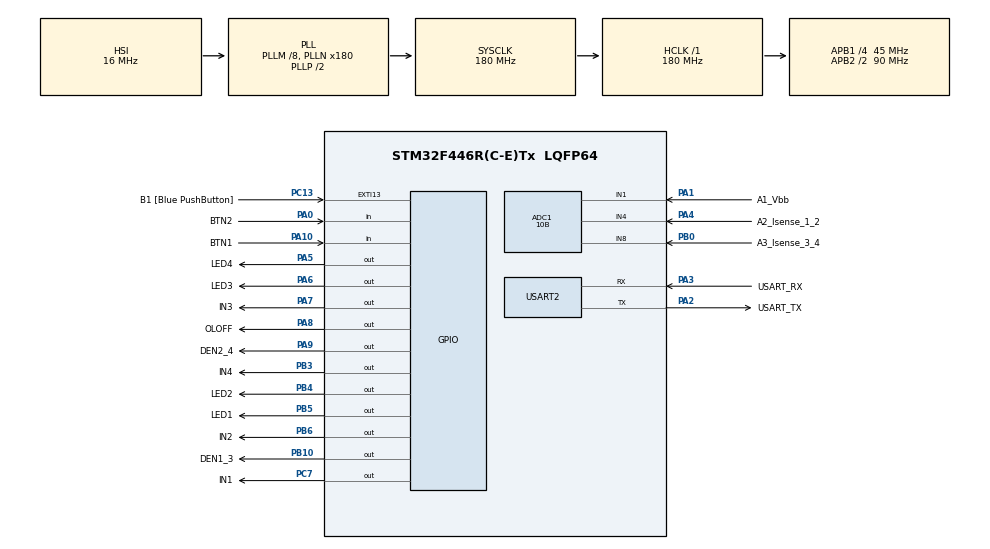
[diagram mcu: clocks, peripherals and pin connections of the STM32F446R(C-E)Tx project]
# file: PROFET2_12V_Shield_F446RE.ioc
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Mcu.Family=STM32F4
PH0-OSC_IN.Signal=RCC_OSC_IN
RCC.CortexFreq_Value=180000000
ADC1.ContinuousConvMode=DISABLE
NVIC.TIM6_DAC_IRQn=true\:0\:0\:false\:false\:true\:true\:true
PA14.GPIO_Label=TCK
PA6.GPIO_Label=LED3
PB0.GPIO_Label=A3_Isense_3_4
PB6.GPIO_Label=IN2
PC13.GPIO_Label=B1 [Blue PushButton]
RCC.SYSCLKSource=RCC_SYSCLKSOURCE_PLLCLK
ProjectManager.StackSize=0x400
NVIC.ADC_IRQn=true\:0\:0\:false\:false\:true\:true\:true
RCC.HCLKFreq_Value=180000000
ADC1.Resolution=ADC_RESOLUTION_10B
RCC.APB2TimFreq_Value=180000000
PB6.Signal=GPIO_Output
ADC1.Channel-2\#ChannelRegularConversion=ADC_CHANNEL_8
PC7.Signal=GPIO_Output
RCC.AHBFreq_Value=180000000
PH0-OSC_IN.Mode=HSE-External-Oscillator
ADC1.Channel-0\#ChannelRegularConversion=ADC_CHANNEL_1
RCC.HSE_VALUE=8000000
ADC1.Rank-2\#ChannelRegularConversion=3
PC14-OSC32_IN.Mode=LSE-External-Oscillator
PA14.Mode=Serial_Wire
PA10.GPIO_Label=BTN1
SH.ADCx_IN8.0=ADC1_IN8,IN8
PA8.Signal=GPIO_Output
TIM6.Period=9999
ADC1.SamplingTime-0\#ChannelRegularConversion=ADC_SAMPLETIME_3CYCLES
RCC.FLatency-AdvancedSettings=FLASH_LATENCY_5
PH1-OSC_OUT.Mode=HSE-External-Oscillator
Mcu.Package=LQFP64
PA6.Signal=GPIO_Output
USART2.VirtualMode=VM_ASYNC
PA2.GPIO_Label=USART_TX
PA10.Signal=GPIO_Input
RCC.APB2CLKDivider=RCC_HCLK_DIV2
SH.ADCx_IN1.0=ADC1_IN1,IN1
PB5.GPIO_Label=LED1
RCC.APB1TimFreq_Value=90000000
PA4.GPIO_Label=A2_Isense_1_2
PB4.Signal=GPIO_Output
PA3.Signal=USART2_RX
PB3.GPIO_Label=IN4
PC15-OSC32_OUT.Mode=LSE-External-Oscillator
ADC1.Rank-0\#ChannelRegularConversion=1
PC13.Signal=GPXTI13
PA9.GPIO_Label=DEN2_4
TIM6.Prescaler=449
VP_TIM6_VS_ClockSourceINT.Mode=Enable_Timer
ADC1.DiscontinuousConvMode=ENABLE
RCC.APB1CLKDivider=RCC_HCLK_DIV4
PC14-OSC32_IN.Signal=RCC_OSC32_IN
NVIC.USART2_IRQn=true\:0\:0\:false\:false\:true\:true\:true
ADC1.SamplingTime-2\#ChannelRegularConversion=ADC_SAMPLETIME_3CYCLES
PA0-WKUP.GPIO_Label=BTN2
PA0-WKUP.Signal=GPIO_Input
PA3.Mode=Asynchronous
PA13.Signal=SYS_JTMS-SWDIO
TIM6.AutoReloadPreload=TIM_AUTORELOAD_PRELOAD_ENABLE
PA8.GPIO_Label=OLOFF
ProjectManager.TargetToolchain=STM32CubeIDE
PB10.GPIO_Label=DEN1_3
PA9.Signal=GPIO_Output
ADC1.Channel-1\#ChannelRegularConversion=ADC_CHANNEL_4
RCC.USBFreq_Value=180000000
PC15-OSC32_OUT.Signal=RCC_OSC32_OUT
PA1.Signal=ADCx_IN1
PB10.Signal=GPIO_Output
PA5.Signal=GPIO_Output
board=NUCLEO-F446RE
RCC.VCOOutputFreq_Value=360000000
RCC.APB2Freq_Value=90000000
PB4.GPIO_Label=LED2
PA1.GPIO_Label=A1_Vbb
PH1-OSC_OUT.Signal=RCC_OSC_OUT
SH.ADCx_IN4.0=ADC1_IN4,IN4
ADC1.NbrOfConversion=3
PA13.Mode=Serial_Wire
Mcu.Name=STM32F446R(C-E)Tx
PA2.Signal=USART2_TX
PA13.GPIO_Label=TMS
PC7.GPIO_Label=IN1
RCC.48MHZClocksFreq_Value=84000000
PB3.Signal=GPIO_Output
PA4.Signal=ADCx_IN4
ADC1.SamplingTime-1\#ChannelRegularConversion=ADC_SAMPLETIME_3CYCLES
RCC.SYSCLKFreq_VALUE=180000000
PB5.Signal=GPIO_Output
PA7.GPIO_Label=IN3
ADC1.master=1
PA5.GPIO_Label=LED4
PC13.GPIO_ModeDefaultEXTI=GPIO_MODE_IT_FALLING
ADC1.Rank-1\#ChannelRegularConversion=2
PA14.Signal=SYS_JTCK-SWCLK
ProjectManager.HeapSize=0x200
RCC.HSI_VALUE=16000000
NVIC.PriorityGroup=NVIC_PRIORITYGROUP_0
ADC1.NbrOfConversionFlag=1
RCC.PLLM=8
RCC.PLLN=180
PA2.Mode=Asynchronous
RCC.APB1Freq_Value=45000000
PB0.Signal=ADCx_IN8
PA3.GPIO_Label=USART_RX
PA7.Signal=GPIO_Output

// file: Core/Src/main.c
/* USER CODE BEGIN Header */
/**
 ******************************************************************************
 * @file           : main.c
 * @brief          : Main program body
 ******************************************************************************
 * @attention
 *
 * <h2><center>&copy; Copyright (c) 2021 STMicroelectronics.
 * All rights reserved.</center></h2>
 *
 * This software component is licensed by ST under BSD 3-Clause license,
 * the "License"; You may not use this file except in compliance with the
 * License. You may obtain a copy of the License at:
 *                        opensource.org/licenses/BSD-3-Clause
 *
 ******************************************************************************
 */
/* USER CODE END Header */
#include "main.h"

/* USER CODE BEGIN Includes */

#include "string.h"
/* USER CODE END Includes */

/* USER CODE BEGIN PTD */
typedef struct
{
	uint16_t kilis; /**< Current sense ratio */
	float ampsGain; /**< Gain factor for the current, may has to be adjusted */
	float ampsOffset; /**< Current offset, can be used to correct the measured current */
	float vBatGain; /**< Gain factor for the battery voltage, may has to be adjusted */
	float vBatOffset; /**< Battery voltage offset, can be used to correct the measured battery voltage */
} BtsVariants_t;
typedef struct
{
	uint16_t tau;

	float y;
	float y_last;
	float x;
} ExpFilterBase_t;
/* USER CODE END PTD */

/* USER CODE BEGIN PD */
#define MAX_ADC_VAL (3.3)
/* USER CODE END PD */

ADC_HandleTypeDef hadc1;

TIM_HandleTypeDef htim6;

UART_HandleTypeDef huart2;

/* USER CODE BEGIN PV */
BtsVariants_t BTS7002 =
{ .kilis = 22700, .ampsGain = 1.08, .ampsOffset = 0.0, .vBatGain = 1.045,
		.vBatOffset = 0.0 };
uint16_t data[4];
float data_res[4];
char buf[100];
ExpFilterBase_t filterBase[4];
/* USER CODE END PV */

void SystemClock_Config(void);
static void MX_GPIO_Init(void);
static void MX_USART2_UART_Init(void);
static void MX_ADC1_Init(void);
static void MX_TIM6_Init(void);
/* USER CODE BEGIN PFP */
uint16_t pow2(uint16_t p)
{
	return 1 << p;
}

void ExponentialFilter_Init(ExpFilterBase_t *_target)
{
	_target->y = 0.0;
	_target->y_last = 0.0;
	_target->x = 0.0;
	_target->tau = 1;
}

void ExponentialFilter_Init_Y(ExpFilterBase_t *_target, float y)
{
	_target->y = y;
	_target->y_last = y;
	_target->x = y;
}

void ExponentialFilter_Init_Y_T(ExpFilterBase_t *_target, float y, uint16_t t)
{
	_target->y = y;
	_target->y_last = y;
	_target->x = y;
	_target->tau = pow2(t);
}

void ExponentialFilter_setFilter(ExpFilterBase_t *_target, float y, uint16_t t)
{
	_target->y = y;
	_target->y_last = y;
	_target->x = y;
	_target->tau = pow2(t);
}

void ExponentialFilter_setTau(ExpFilterBase_t *_target, uint16_t t)
{
	_target->tau = pow2(t);
}

void ExponentialFilter_setToNewValue(ExpFilterBase_t *_target, float y)
{
	_target->y = _target->y_last = _target->x = _target->y;
}

float ExponentialFilter_input(ExpFilterBase_t *_target, float x)
{
	_target->y_last = _target->y;
	_target->x = x;

	_target->y = _target->y_last
			+ ((x - _target->y_last) / (float) _target->tau);
}

float ExponentialFilter_output(ExpFilterBase_t *_target)
{
	return _target->y;
}

void ADC_Port1_3()
{

}
void ADC_Port2_4()
{

}
/* USER CODE END PFP */

/* USER CODE BEGIN 0 */
float changeRawToCurrent(uint16_t rawval)
{
	float amps;
	amps = ((float) rawval / (float) 1024) * (float) MAX_ADC_VAL;
	amps = (amps * BTS7002.kilis) / 1000.0;
	amps = (amps - BTS7002.ampsOffset) * BTS7002.ampsGain;
	return amps;
	//ExponentialFilter_input(&filterBase[3], amps);

	//return ExponentialFilter_output(&filterBase[3]);
}
/* USER CODE END 0 */

int main(void)
{

	/* MCU Configuration--------------------------------------------------------*/

	/* Reset of all peripherals, Initializes the Flash interface and the Systick. */
	HAL_Init();

	/* Configure the system clock */
	SystemClock_Config();

	/* Initialize all configured peripherals */
	MX_GPIO_Init();
	MX_USART2_UART_Init();
	MX_ADC1_Init();
	MX_TIM6_Init();
	/* USER CODE BEGIN 2 */
	HAL_GPIO_WritePin(IN2_GPIO_Port, IN2_Pin, GPIO_PIN_RESET);
	HAL_GPIO_WritePin(IN4_GPIO_Port, IN4_Pin, GPIO_PIN_SET);

	HAL_GPIO_WritePin(IN1_GPIO_Port, IN1_Pin, GPIO_PIN_RESET);
	HAL_GPIO_WritePin(IN3_GPIO_Port, IN3_Pin, GPIO_PIN_RESET);
	/* USER CODE END 2 */

	/* Infinite loop */
	/* USER CODE BEGIN WHILE */
	while (1)
	{
		HAL_GPIO_WritePin(OLOFF_GPIO_Port, OLOFF_Pin, GPIO_PIN_RESET);
		HAL_Delay(1);
		HAL_GPIO_WritePin(DEN2_4_GPIO_Port, DEN2_4_Pin, GPIO_PIN_SET);
		HAL_Delay(1);
		for (volatile int i = 0; i < 3; i++)
		{
			HAL_ADC_Start(&hadc1);
			HAL_ADC_PollForConversion(&hadc1, 100);
			data[i] = HAL_ADC_GetValue(&hadc1);
		}
		HAL_ADC_Stop(&hadc1);

		HAL_GPIO_WritePin(DEN2_4_GPIO_Port, DEN2_4_Pin, GPIO_PIN_RESET);

		sprintf(buf, "\t\t\tIN2\t\tIN4\r\n"
				"----------------------------------------------\r\n"
				"OLOFF: %d\t||\t%d\t||\t%f\r\n", data[0], data[1], changeRawToCurrent(data[2]));
		HAL_UART_Transmit(&huart2, buf, strlen(buf), 1000);

		HAL_Delay(10);
		/* USER CODE END WHILE */

		/* USER CODE BEGIN 3 */

		HAL_GPIO_WritePin(OLOFF_GPIO_Port, OLOFF_Pin, GPIO_PIN_SET);
		HAL_Delay(1);
		HAL_GPIO_WritePin(DEN2_4_GPIO_Port, DEN2_4_Pin, GPIO_PIN_SET);
		HAL_Delay(1);

		for (volatile int i = 0; i < 3; i++)
		{
			HAL_ADC_Start(&hadc1);
			HAL_ADC_PollForConversion(&hadc1, 100);
			data[i] = HAL_ADC_GetValue(&hadc1);
		}
		HAL_ADC_Stop(&hadc1);

		HAL_GPIO_WritePin(DEN2_4_GPIO_Port, DEN2_4_Pin, GPIO_PIN_RESET);

		sprintf(buf, "OLON: %d\t||\t%d\t||\t%f\r\n\r\n", data[0], data[1],
				changeRawToCurrent(data[2]));
		HAL_UART_Transmit(&huart2, (uint8_t*) buf, strlen(buf), 1000);

		HAL_Delay(1000);
	}
	/* USER CODE END 3 */
}

void SystemClock_Config(void)
{
	RCC_OscInitTypeDef RCC_OscInitStruct =
	{ 0 };
	RCC_ClkInitTypeDef RCC_ClkInitStruct =
	{ 0 };

	/** Configure the main internal regulator output voltage
	 */
	__HAL_RCC_PWR_CLK_ENABLE();
	__HAL_PWR_VOLTAGESCALING_CONFIG(PWR_REGULATOR_VOLTAGE_SCALE1);
	/** Initializes the RCC Oscillators according to the specified parameters
	 * in the RCC_OscInitTypeDef structure.
	 */
	RCC_OscInitStruct.OscillatorType = RCC_OSCILLATORTYPE_HSI;
	RCC_OscInitStruct.HSIState = RCC_HSI_ON;
	RCC_OscInitStruct.HSICalibrationValue = RCC_HSICALIBRATION_DEFAULT;
	RCC_OscInitStruct.PLL.PLLState = RCC_PLL_ON;
	RCC_OscInitStruct.PLL.PLLSource = RCC_PLLSOURCE_HSI;
	RCC_OscInitStruct.PLL.PLLM = 8;
	RCC_OscInitStruct.PLL.PLLN = 180;
	RCC_OscInitStruct.PLL.PLLP = RCC_PLLP_DIV2;
	RCC_OscInitStruct.PLL.PLLQ = 2;
	RCC_OscInitStruct.PLL.PLLR = 2;
	if (HAL_RCC_OscConfig(&RCC_OscInitStruct) != HAL_OK)
	{
		Error_Handler();
	}
	/** Activate the Over-Drive mode
	 */
	if (HAL_PWREx_EnableOverDrive() != HAL_OK)
	{
		Error_Handler();
	}
	/** Initializes the CPU, AHB and APB buses clocks
	 */
	RCC_ClkInitStruct.ClockType = RCC_CLOCKTYPE_HCLK | RCC_CLOCKTYPE_SYSCLK
			| RCC_CLOCKTYPE_PCLK1 | RCC_CLOCKTYPE_PCLK2;
	RCC_ClkInitStruct.SYSCLKSource = RCC_SYSCLKSOURCE_PLLCLK;
	RCC_ClkInitStruct.AHBCLKDivider = RCC_SYSCLK_DIV1;
	RCC_ClkInitStruct.APB1CLKDivider = RCC_HCLK_DIV4;
	RCC_ClkInitStruct.APB2CLKDivider = RCC_HCLK_DIV2;

	if (HAL_RCC_ClockConfig(&RCC_ClkInitStruct, FLASH_LATENCY_5) != HAL_OK)
	{
		Error_Handler();
	}
}

static void MX_ADC1_Init(void)
{

	ADC_ChannelConfTypeDef sConfig =
	{ 0 };

	/** Configure the global features of the ADC (Clock, Resolution, Data Alignment and number of conversion)
	 */
	hadc1.Instance = ADC1;
	hadc1.Init.ClockPrescaler = ADC_CLOCK_SYNC_PCLK_DIV4;
	hadc1.Init.Resolution = ADC_RESOLUTION_10B;
	hadc1.Init.ScanConvMode = ENABLE;
	hadc1.Init.ContinuousConvMode = DISABLE;
	hadc1.Init.DiscontinuousConvMode = ENABLE;
	hadc1.Init.NbrOfDiscConversion = 1;
	hadc1.Init.ExternalTrigConvEdge = ADC_EXTERNALTRIGCONVEDGE_NONE;
	hadc1.Init.ExternalTrigConv = ADC_SOFTWARE_START;
	hadc1.Init.DataAlign = ADC_DATAALIGN_RIGHT;
	hadc1.Init.NbrOfConversion = 3;
	hadc1.Init.DMAContinuousRequests = DISABLE;
	hadc1.Init.EOCSelection = ADC_EOC_SINGLE_CONV;
	if (HAL_ADC_Init(&hadc1) != HAL_OK)
	{
		Error_Handler();
	}
	/** Configure for the selected ADC regular channel its corresponding rank in the sequencer and its sample time.
	 */
	sConfig.Channel = ADC_CHANNEL_1;
	sConfig.Rank = 1;
	sConfig.SamplingTime = ADC_SAMPLETIME_3CYCLES;
	if (HAL_ADC_ConfigChannel(&hadc1, &sConfig) != HAL_OK)
	{
		Error_Handler();
	}
	/** Configure for the selected ADC regular channel its corresponding rank in the sequencer and its sample time.
	 */
	sConfig.Channel = ADC_CHANNEL_4;
	sConfig.Rank = 2;
	if (HAL_ADC_ConfigChannel(&hadc1, &sConfig) != HAL_OK)
	{
		Error_Handler();
	}
	/** Configure for the selected ADC regular channel its corresponding rank in the sequencer and its sample time.
	 */
	sConfig.Channel = ADC_CHANNEL_8;
	sConfig.Rank = 3;
	if (HAL_ADC_ConfigChannel(&hadc1, &sConfig) != HAL_OK)
	{
		Error_Handler();
	}

}

static void MX_TIM6_Init(void)
{

	TIM_MasterConfigTypeDef sMasterConfig =
	{ 0 };

	htim6.Instance = TIM6;
	htim6.Init.Prescaler = 449;
	htim6.Init.CounterMode = TIM_COUNTERMODE_UP;
	htim6.Init.Period = 9999;
	htim6.Init.AutoReloadPreload = TIM_AUTORELOAD_PRELOAD_ENABLE;
	if (HAL_TIM_Base_Init(&htim6) != HAL_OK)
	{
		Error_Handler();
	}
	sMasterConfig.MasterOutputTrigger = TIM_TRGO_RESET;
	sMasterConfig.MasterSlaveMode = TIM_MASTERSLAVEMODE_DISABLE;
	if (HAL_TIMEx_MasterConfigSynchronization(&htim6, &sMasterConfig) != HAL_OK)
	{
		Error_Handler();
	}

}

static void MX_USART2_UART_Init(void)
{

	huart2.Instance = USART2;
	huart2.Init.BaudRate = 115200;
	huart2.Init.WordLength = UART_WORDLENGTH_8B;
	huart2.Init.StopBits = UART_STOPBITS_1;
	huart2.Init.Parity = UART_PARITY_NONE;
	huart2.Init.Mode = UART_MODE_TX_RX;
	huart2.Init.HwFlowCtl = UART_HWCONTROL_NONE;
	huart2.Init.OverSampling = UART_OVERSAMPLING_16;
	if (HAL_UART_Init(&huart2) != HAL_OK)
	{
		Error_Handler();
	}

}

static void MX_GPIO_Init(void)
{
	GPIO_InitTypeDef GPIO_InitStruct =
	{ 0 };

	/* GPIO Ports Clock Enable */
	__HAL_RCC_GPIOC_CLK_ENABLE();
	__HAL_RCC_GPIOH_CLK_ENABLE();
	__HAL_RCC_GPIOA_CLK_ENABLE();
	__HAL_RCC_GPIOB_CLK_ENABLE();

	/*Configure GPIO pin Output Level */
	HAL_GPIO_WritePin(GPIOA,
	LED4_Pin | LED3_Pin | IN3_Pin | OLOFF_Pin | DEN2_4_Pin, GPIO_PIN_RESET);

	/*Configure GPIO pin Output Level */
	HAL_GPIO_WritePin(GPIOB,
	DEN1_3_Pin | IN4_Pin | LED2_Pin | LED1_Pin | IN2_Pin, GPIO_PIN_RESET);

	/*Configure GPIO pin Output Level */
	HAL_GPIO_WritePin(IN1_GPIO_Port, IN1_Pin, GPIO_PIN_RESET);

	/*Configure GPIO pin : B1_Pin */
	GPIO_InitStruct.Pin = B1_Pin;
	GPIO_InitStruct.Mode = GPIO_MODE_IT_FALLING;
	GPIO_InitStruct.Pull = GPIO_NOPULL;
	HAL_GPIO_Init(B1_GPIO_Port, &GPIO_InitStruct);

	/*Configure GPIO pins : BTN2_Pin BTN1_Pin */
	GPIO_InitStruct.Pin = BTN2_Pin | BTN1_Pin;
	GPIO_InitStruct.Mode = GPIO_MODE_INPUT;
	GPIO_InitStruct.Pull = GPIO_NOPULL;
	HAL_GPIO_Init(GPIOA, &GPIO_InitStruct);

	/*Configure GPIO pins : LED4_Pin LED3_Pin IN3_Pin OLOFF_Pin
	 DEN2_4_Pin */
	GPIO_InitStruct.Pin =
	LED4_Pin | LED3_Pin | IN3_Pin | OLOFF_Pin | DEN2_4_Pin;
	GPIO_InitStruct.Mode = GPIO_MODE_OUTPUT_PP;
	GPIO_InitStruct.Pull = GPIO_NOPULL;
	GPIO_InitStruct.Speed = GPIO_SPEED_FREQ_LOW;
	HAL_GPIO_Init(GPIOA, &GPIO_InitStruct);

	/*Configure GPIO pins : DEN1_3_Pin IN4_Pin LED2_Pin LED1_Pin
	 IN2_Pin */
	GPIO_InitStruct.Pin = DEN1_3_Pin | IN4_Pin | LED2_Pin | LED1_Pin | IN2_Pin;
	GPIO_InitStruct.Mode = GPIO_MODE_OUTPUT_PP;
	GPIO_InitStruct.Pull = GPIO_NOPULL;
	GPIO_InitStruct.Speed = GPIO_SPEED_FREQ_LOW;
	HAL_GPIO_Init(GPIOB, &GPIO_InitStruct);

	/*Configure GPIO pin : IN1_Pin */
	GPIO_InitStruct.Pin = IN1_Pin;
	GPIO_InitStruct.Mode = GPIO_MODE_OUTPUT_PP;
	GPIO_InitStruct.Pull = GPIO_NOPULL;
	GPIO_InitStruct.Speed = GPIO_SPEED_FREQ_LOW;
	HAL_GPIO_Init(IN1_GPIO_Port, &GPIO_InitStruct);

}

void Error_Handler(void)
{
	__disable_irq();
	while (1)
	{
	}
}

/************************ (C) COPYRIGHT STMicroelectronics *****END OF FILE****/
